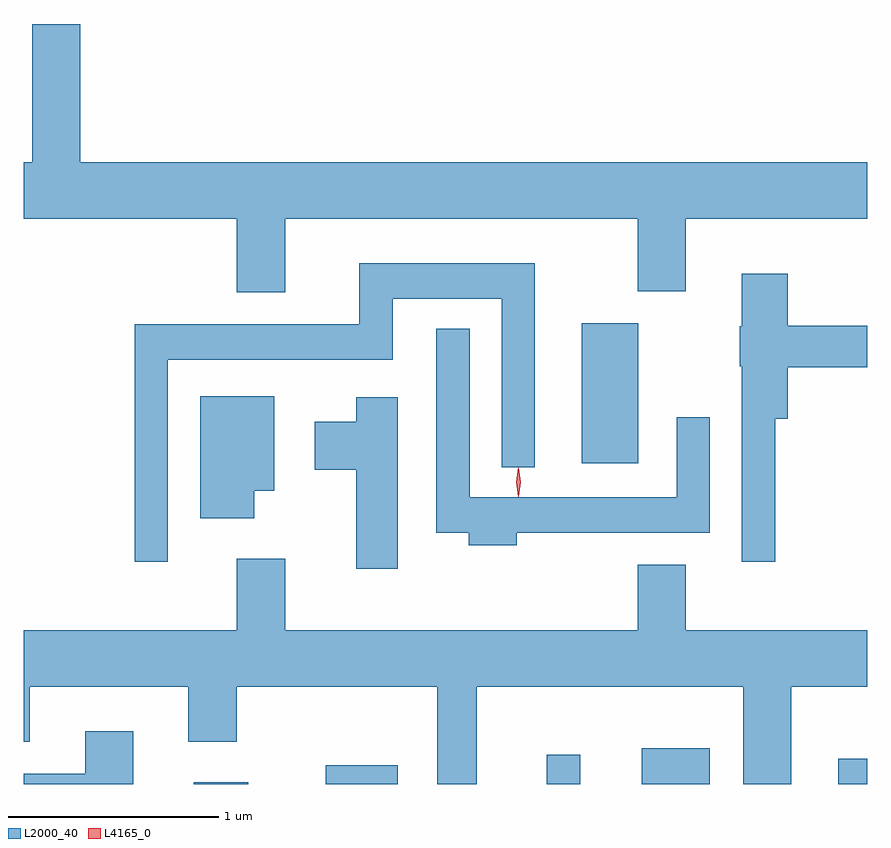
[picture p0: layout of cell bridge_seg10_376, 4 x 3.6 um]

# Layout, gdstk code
import gdstk
lib = gdstk.Library(unit=1e-6, precision=1e-09)
def R(c, l, rs):  # rectangles x0, y0, x1, y1
    for r in rs: c.add(gdstk.rectangle(r[:2], r[2:], *l))
def P(c, l, *ps):  # polygons
    for p in ps: c.add(gdstk.Polygon(p, *l))
L2000_40 = (2000, 40)
L4165_0 = (4165, 0)

bridge_seg10_376 = lib.new_cell('bridge_seg10_376')
R(bridge_seg10_376, L2000_40, [(1406.296,2120.115,1406.554,2120.124), (1406.921,2120.115,1407.264,2120.204), (1407.971,2120.115,1408.129,2120.253), (1408.421,2120.115,1408.744,2120.284), (1409.353,2120.115,1409.49,2120.234), (1408.136,2121.636,1408.404,2122.299)])
P(bridge_seg10_376, L2000_40, [(1406.729,2122.796),(1408.401,2122.796),(1408.401,2122.451),(1408.629,2122.451),(1408.629,2122.796),(1409.49,2122.796),(1409.49,2123.064),(1405.759,2123.064),(1405.759,2123.719),(1405.531,2123.719),(1405.531,2123.064),(1405.49,2123.064),(1405.49,2122.796),(1406.501,2122.796),(1406.501,2122.446),(1406.729,2122.446)],
  [(1406.174,2122.126),(1407.239,2122.126),(1407.239,2122.416),(1407.756,2122.416),(1407.756,2121.618),(1407.914,2121.618),(1407.914,2122.584),(1407.081,2122.584),(1407.081,2122.294),(1406.016,2122.294),(1406.016,2121.168),(1406.174,2121.168)],
  [(1409.054,2121.846),(1409.114,2121.846),(1409.114,2122.091),(1409.49,2122.091),(1409.49,2122.289),(1409.114,2122.289),(1409.114,2122.534),(1408.896,2122.534),(1408.896,2122.285),(1408.886,2122.285),(1408.886,2122.095),(1408.896,2122.095),(1408.896,2121.168),(1409.054,2121.168)],
  [(1407.829,2121.306),(1408.744,2121.306),(1408.744,2121.853),(1408.586,2121.853),(1408.586,2121.474),(1407.604,2121.474),(1407.604,2122.273),(1407.446,2122.273),(1407.446,2121.306),(1407.601,2121.306),(1407.601,2121.246),(1407.829,2121.246)],
  [(1406.584,2121.506),(1406.679,2121.506),(1406.679,2121.954),(1406.326,2121.954),(1406.326,2121.376),(1406.584,2121.376)],
  [(1407.264,2121.949),(1407.066,2121.949),(1407.066,2121.834),(1406.871,2121.834),(1406.871,2121.606),(1407.066,2121.606),(1407.066,2121.136),(1407.264,2121.136)],
  [(1407.639,2120.576),(1408.901,2120.576),(1408.901,2120.115),(1409.129,2120.115),(1409.129,2120.576),(1409.49,2120.576),(1409.49,2120.844),(1408.629,2120.844),(1408.629,2121.154),(1408.401,2121.154),(1408.401,2120.844),(1406.729,2120.844),(1406.729,2121.184),(1406.501,2121.184),(1406.501,2120.844),(1405.49,2120.844),(1405.49,2120.316),(1405.519,2120.316),(1405.519,2120.576),(1406.271,2120.576),(1406.271,2120.316),(1406.499,2120.316),(1406.499,2120.576),(1407.451,2120.576),(1407.451,2120.115),(1407.639,2120.115)],
  [(1406.009,2120.364),(1405.781,2120.364),(1405.781,2120.164),(1405.49,2120.164),(1405.49,2120.115),(1406.009,2120.115)])
P(bridge_seg10_376, L4165_0, [(1407.837,2121.479),(1407.837,2121.48),(1407.827,2121.546),(1407.836,2121.612),(1407.837,2121.613),(1407.838,2121.612),(1407.847,2121.546),(1407.838,2121.48)],
  [(1407.836,2121.477),(1407.836,2121.477),(1407.826,2121.547),(1407.836,2121.616),(1407.836,2121.616),(1407.836,2121.616),(1407.846,2121.547),(1407.836,2121.477)])

lib.write_gds('bridge_seg10_376.gds')
